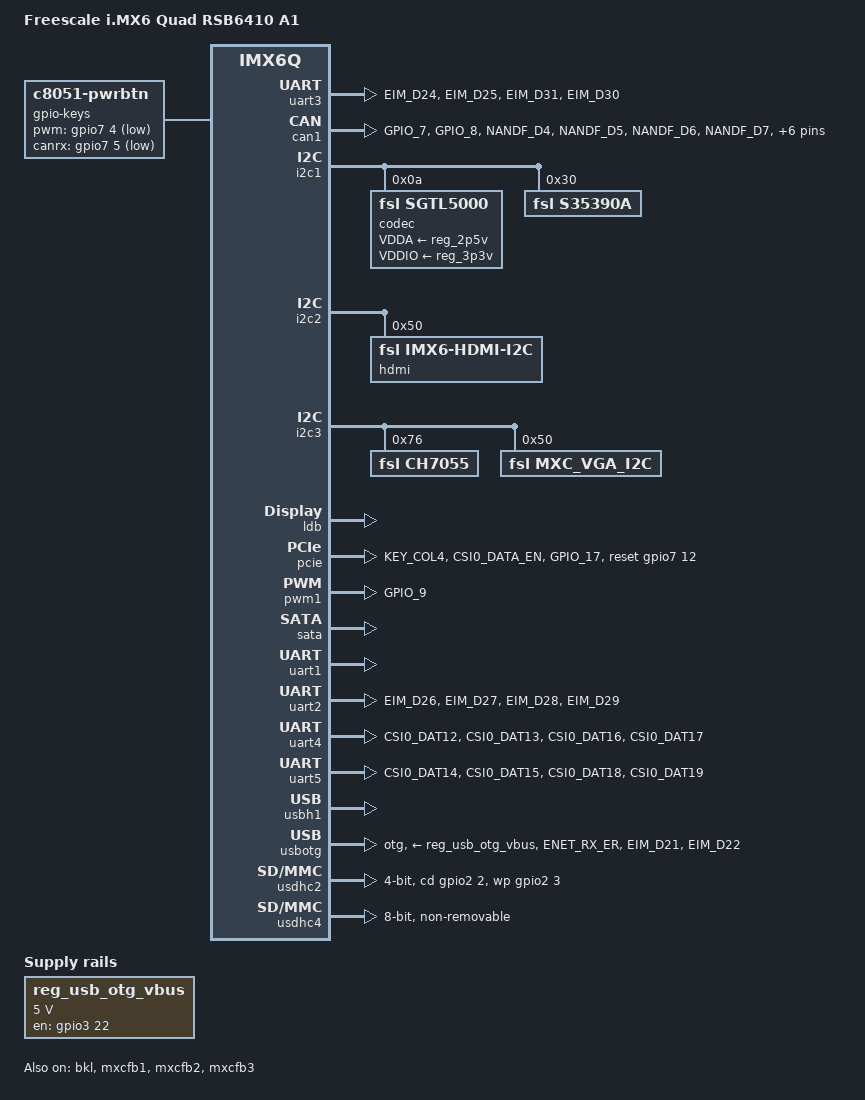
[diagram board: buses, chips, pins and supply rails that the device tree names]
/*
 * Copyright 2012 Freescale Semiconductor, Inc.
 * Copyright 2011 Linaro Ltd.
 *
 * The code contained herein is licensed under the GNU General Public
 * License. You may obtain a copy of the GNU General Public License
 * Version 2 or later at the following locations:
 *
 * http://www.opensource.org/licenses/gpl-license.html
 * http://www.gnu.org/copyleft/gpl.html
 */

/dts-v1/;

#include "imx6q.dtsi"
#include "imx6qdl-advantech.dtsi"

/ {
	model = "Freescale i.MX6 Quad RSB6410 A1";
	compatible = "fsl,imx6q-sabresd", "fsl,imx6q";

	board {
		compatible = "proc-board";
		board-type = "RSB-6410 A1";
		board-cpu = "DualQuad";
	};

	regulators {

		reg_usb_otg_vbus: usb_otg_vbus {
			compatible = "regulator-fixed";
			regulator-name = "usb_otg_vbus";
			regulator-min-microvolt = <5000000>;
			regulator-max-microvolt = <5000000>;
			gpio = <&gpio3 22 GPIO_ACTIVE_HIGH>;
			enable-active-high;
		};
	};

 	 v4l2_out {
	    compatible = "fsl,mxc_v4l2_output";
	    status = "okay";
	};
	 
	gpio-keys {
		pinctrl-names = "default";
		pinctrl-0 = <&pinctrl_gpio_sleep_1>;
		compatible = "c8051-pwrbtn";
		pwm-gpio = <&gpio7 4 1>;
		canrx-gpio = <&gpio7 5 1>;
		sleep {
			label = "Sleep Button";
			gpios = <&gpio1 1 1>;
			linux,input-type = <22>;
			linux,code = <205>; /* KEY_SUSPEND */
			debounce_interval = <1>;
			gpio-key,wakeup;
		};
	};
};

&fec {
	phy-led = <0x9247 0x0091>;
};

&uart3 {
     uart-sel-gpio = <&gpio3 20 1>;
};

&audio_sgtl5000 {
	audio-codec = <&codec>;
};

&bkl {
	lvds-bkl-enable = <&gpio6 9 1>;
	lvds-vcc-enable = <&gpio6 7 0>;
	pwms = <&pwm1 0 5000000>;
	status = "okay";
};

&ecspi1 {
	cs-gpios = <&gpio3 19 0>;
};


&can1 {
	pinctrl-names = "default";
	pinctrl-0 = <&pinctrl_flexcan1_1>;
	status = "okay";
};

&i2c1 {

	codec: sgtl5000@0a {
		compatible = "fsl,sgtl5000";
		reg = <0x0a>;
		clocks = <&clks 201>;
		VDDA-supply = <&reg_2p5v>;
		VDDIO-supply = <&reg_3p3v>;
		mclk = <16000000>;
		mclk_source = <0>;
	};

	s35390a@30 {
		compatible = "fsl,s35390a";
		reg = <0x30>;
	};
};

&i2c2 {

	hdmi: edid@50 {
		compatible = "fsl,imx6-hdmi-i2c";
		reg = <0x50>;
	};
};

&i2c3 {

	ch7055@76 {
		compatible = "fsl,ch7055";
		reg = <0x76>;
	};

	mxc_vga_i2c@50 {
		compatible = "fsl,mxc_vga_i2c";
		reg = <0x50>;
	};
};

&iomuxc {
	pinctrl-names = "default";
	pinctrl-0 = <&pinctrl_hog_1 &pinctrl_hog_2>;

	can1 {
		pinctrl_flexcan1_1: flexcan1grp-1 {
			fsl,pins = <
				MX6QDL_PAD_GPIO_7__FLEXCAN1_TX		0x80000000
				MX6QDL_PAD_GPIO_8__FLEXCAN1_RX		0x80000000
				//advantech gpios
				MX6QDL_PAD_NANDF_D4__GPIO2_IO04		0x80000000
				MX6QDL_PAD_NANDF_D5__GPIO2_IO05		0x80000000
				MX6QDL_PAD_NANDF_D6__GPIO2_IO06		0x80000000
				MX6QDL_PAD_NANDF_D7__GPIO2_IO07		0x80000000
				MX6QDL_PAD_SD3_DAT4__GPIO7_IO01		0x80000000
				//UART Mode select
				MX6QDL_PAD_EIM_D20__GPIO3_IO20		0x80000000    /* RS485 or RS232*/
				//8051 input
				MX6QDL_PAD_SD3_DAT0__GPIO7_IO04		0x80000000    /* CAN2_TX 8051 */
				MX6QDL_PAD_SD3_DAT1__GPIO7_IO05		0x80000000		/* CAN2_RX 8051 */
				//uart select gpio
				MX6QDL_PAD_EIM_D20__GPIO3_IO20                 0x80000000	/* uart select gpio */			
				//sdio reset
				MX6QDL_PAD_KEY_ROW1__GPIO4_IO09     0x80000000		/* sdio reset */
				MX6QDL_PAD_SD3_RST__GPIO7_IO08      0x80000000
			>;
		};
	};


	gpio-keys {
			pinctrl_gpio_sleep_1: gpio_sleep1grp-1 {
			fsl,pins = <
				MX6QDL_PAD_GPIO_1__GPIO1_IO01		0x80000000	/* SLEEP Button */
			>;
		};
	};

	hog {
		/* Common GPIO */
		pinctrl_hog_1: hoggrp-1 {
			fsl,pins = <
				MX6QDL_PAD_NANDF_D2__GPIO2_IO02 	0x80000000	/* SD2_CD */
				MX6QDL_PAD_NANDF_D3__GPIO2_IO03 	0x80000000	/* SD2_WP */
				MX6QDL_PAD_GPIO_0__CCM_CLKO1   		0x130b0     /* AUDIO CLK */
			>;
		};

		pinctrl_hog_2: hoggrp-2 {
			fsl,pins = <
				MX6QDL_PAD_NANDF_CS0__GPIO6_IO11	0x80000000	/* GPIO1 */
				MX6QDL_PAD_NANDF_CS1__GPIO6_IO14	0x80000000	/* GPIO2 */
				MX6QDL_PAD_NANDF_CS2__GPIO6_IO15	0x80000000	/* GPIO3 */
				MX6QDL_PAD_NANDF_CS3__GPIO6_IO16	0x80000000	/* GPIO4 */
				MX6QDL_PAD_EIM_CS0__GPIO2_IO23		0x80000000	/* GPIO5 */
				MX6QDL_PAD_EIM_CS1__GPIO2_IO24		0x80000000	/* GPIO6 */
				MX6QDL_PAD_EIM_OE__GPIO2_IO25		0x80000000	/* GPIO7 */
				MX6QDL_PAD_EIM_A25__GPIO5_IO02		0x80000000	/* GPIO8 */
			>;
		};
	};

	lvds {
		pinctrl_lvds_bkl_1: lvds_bklgrp-1 {
			fsl,pins = <
				MX6QDL_PAD_NANDF_WP_B__GPIO6_IO09	0x170b0		/* LCD_BKLT_EN */
				MX6QDL_PAD_NANDF_CLE__GPIO6_IO07	0x170b0		/* LCD_VDD_EN */
			>;
		};
		pinctrl_lvds_vcc_1: lvds_vccgrp-1 {
			fsl,pins = <
				MX6QDL_PAD_NANDF_CLE__GPIO6_IO07	0x170b0		/* LCD_VDD_EN */
				MX6QDL_PAD_NANDF_WP_B__GPIO6_IO09	0x170b0		/* LCD_BKLT_EN */
			>;
		};
	};

	pcie {
		pinctrl_pcie_1: pcie1grp-1 {
			fsl,pins = <
				MX6QDL_PAD_KEY_COL4__GPIO4_IO14		0x0001B0B0	/* PCIE_DIS_B */
				MX6QDL_PAD_CSI0_DATA_EN__GPIO5_IO20	0x0001B0B0	/* PCIE_WAKE */
				MX6QDL_PAD_GPIO_17__GPIO7_IO12		0x80000000	/* PCIE_RST */
			>;
		};
	};

	spi1 {
		pinctrl_ecspi1_cs_0: ecspi1_cs_grp-0 {
			fsl,pins = <
				MX6QDL_PAD_EIM_D19__GPIO3_IO19		0x80000000	/* ECSPI1_CS1 */
			>;
		};
	};

	pwm1 {
		pinctrl_pwm1_1: pwm1grp-1 {
			fsl,pins = <
				MX6QDL_PAD_GPIO_9__PWM1_OUT 0x1b0b1
			>;
		};
	};

	uart2 {
		pinctrl_uart2_1: uart2grp-1 {
			fsl,pins = <
				MX6QDL_PAD_EIM_D26__UART2_TX_DATA	0x1b0b1
				MX6QDL_PAD_EIM_D27__UART2_RX_DATA	0x1b0b1
 				MX6QDL_PAD_EIM_D28__UART2_CTS_B     0x1b0b1
				MX6QDL_PAD_EIM_D29__UART2_RTS_B     0x1b0b1
			>;
		};
	};

	uart3 {
		pinctrl_uart3_2: uart3grp-2 {
			fsl,pins = <
				MX6QDL_PAD_EIM_D24__UART3_TX_DATA	0x1b0b1
				MX6QDL_PAD_EIM_D25__UART3_RX_DATA	0x1b0b1
				MX6QDL_PAD_EIM_D31__UART3_RTS_B     0x1b0b1 
				MX6QDL_PAD_EIM_D30__UART3_CTS_B     0x1b0b1 
			>;
		};
	};

	uart4 {
		pinctrl_uart4_1: uart4grp-1 {
			fsl,pins = <
				MX6QDL_PAD_CSI0_DAT12__UART4_TX_DATA	0x1b0b1
				MX6QDL_PAD_CSI0_DAT13__UART4_RX_DATA	0x1b0b1
				MX6QDL_PAD_CSI0_DAT16__UART4_RTS_B		0x1b0b1
				MX6QDL_PAD_CSI0_DAT17__UART4_CTS_B		0x1b0b1
				/*
				MX6QDL_PAD_CSI0_DAT12__UART4_TX_DATA	0x1b0b1
				MX6QDL_PAD_CSI0_DAT13__UART4_RX_DATA	0x1b0b1
				*/
			>;
		};
	};

	uart5 {
		pinctrl_uart5_1: uart5grp-1 {
			fsl,pins = <
				MX6QDL_PAD_CSI0_DAT14__UART5_TX_DATA	0x1b0b1
				MX6QDL_PAD_CSI0_DAT15__UART5_RX_DATA	0x1b0b1
				MX6QDL_PAD_CSI0_DAT18__UART5_RTS_B		0x1b0b1
				MX6QDL_PAD_CSI0_DAT19__UART5_CTS_B		0x1b0b1
				/*
				MX6QDL_PAD_CSI0_DAT14__UART5_TX_DATA	0x1b0b1
				MX6QDL_PAD_CSI0_DAT15__UART5_RX_DATA	0x1b0b1
				*/
			>;
		};
	};

	usbotg {
		pinctrl_usbotg_pwr_1: usbotg_pwr_grp-1 {
			fsl,pins = <
				MX6QDL_PAD_EIM_D22__GPIO3_IO22		0x000000B0	/* USB_OTG_PWR*/
			>;
		};
		pinctrl_usbotg_2: usbotggrp-2 {
			fsl,pins = <
				MX6QDL_PAD_ENET_RX_ER__USB_OTG_ID	0x0001B0B0
				MX6QDL_PAD_EIM_D21__USB_OTG_OC 0x17059
			>;
		};
	};
};

&ldb {
	status = "okay";
//	split-mode;
	
	lvds-channel@0 {
		display-timings {
			native-mode = <&timing60>;
			timing50: g215hvn0 {
				clock-frequency = <144000000>;
				hactive = <1920>;
				vactive = <1080>;
				hback-porch = <90>;
				hfront-porch = <30>;
				vback-porch = <5>;
				vfront-porch = <38>;
				hsync-len = <60>;
				vsync-len = <7>;
			};
	
		timing60:g150xgel05 {
			clock-frequency = <65000000>;
			hactive = <1024>;
			vactive = <768>;
			hback-porch = <220>;
			hfront-porch = <40>;
			vback-porch = <21>;
			vfront-porch = <7>;
			hsync-len = <60>;
			vsync-len = <10>;
			};	
		};
	};
	lvds-channel@1 {
		crtc = "ipu1-di0";
		status = "disable";
	};
};

&mxcfb1 {
	status = "okay";
};

&mxcfb2 {
	status = "okay";
};

&mxcfb3 {
	status = "okay";
};
/*
&mxcfb4 {
	status = "okay";
};
*/
&pcie {
	pinctrl-names = "default";
	pinctrl-0 = <&pinctrl_pcie_1>;
	disable-gpio = <&gpio4 14 0>;
	power-on-gpio = <&gpio5 20 0>; /*	wake-up-gpio = <&gpio5 20 0>;*/
	reset-gpio = <&gpio7 12 0>;
	status = "okay";
};

&pwm1 {
	pinctrl-names = "default";
	pinctrl-0 = <&pinctrl_pwm1_1>;
	status = "okay";
};

&sata {
	status = "okay";
};

&uart1 {
	pinctrl-names = "default";
	pinctrl-0 = <&pinctrl_uart1_1>;
	fsl,uart-has-rtscts;
	status = "okay";
};

&uart2 {
	pinctrl-names = "default";
	pinctrl-0 = <&pinctrl_uart2_1>;
	fsl,uart-has-rtscts;
	status = "okay";
};

&uart3 {
	pinctrl-names = "default";
	pinctrl-0 = <&pinctrl_uart3_2>;
	fsl,uart-has-rtscts;
	status = "okay";
};

&uart4 {
	pinctrl-names = "default";
	pinctrl-0 = <&pinctrl_uart4_1>;
	fsl,uart-has-rtscts;
	status = "okay";
};

&uart5 {
	pinctrl-names = "default";
	pinctrl-0 = <&pinctrl_uart5_1>;
	fsl,uart-has-rtscts;
	status = "okay";
};

&usbh1 {
	status = "okay";
};

&usbotg {
	pinctrl-names = "default";
	pinctrl-0 = <&pinctrl_usbotg_2 &pinctrl_usbotg_pwr_1>;
	vbus-supply = <&reg_usb_otg_vbus>;
	disable-over-current;
	dr_mode = "otg";
	status = "okay";
};

&usdhc1 {
	pinctrl-names = "default";
	pinctrl-0 = <&pinctrl_usdhc1_1>;
	bus-width = <4>;

	non-removable;
	keep-power-in-suspend;
	enable-sdio-wakeup;
	status = "disable";
};

&usdhc2 {
	pinctrl-names = "default";
	pinctrl-0 = <&pinctrl_usdhc2_2>;
	bus-width = <4>;
	cd-gpios = <&gpio2 2 0>;
	wp-gpios = <&gpio2 3 0>;
	status = "okay";
};

&usdhc4 {
	pinctrl-names = "default";
	pinctrl-0 = <&pinctrl_usdhc4_1>;
	bus-width = <8>;
	non-removable;
	no-1-8-v;
	status = "okay";
};
